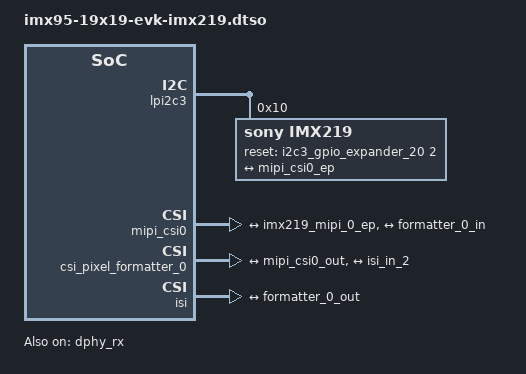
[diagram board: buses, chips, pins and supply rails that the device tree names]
// SPDX-License-Identifier: (GPL-2.0 OR MIT)
/*
 * Copyright 2024 NXP
 */

/dts-v1/;
/plugin/;

#include "imx95-clock.h"
#include <dt-bindings/gpio/gpio.h>
#include "imx95-pinfunc.h"

&scmi_iomuxc {
	pinctrl_csi_mclk: csi_mclk {
		fsl,pins = <
			IMX95_PAD_CCM_CLKO1__CCMSRCGPCMIX_TOP_CLKO_1	0x39e
		>;
	};
};

&lpi2c3 {
	#address-cells = <1>;
	#size-cells = <0>;
	status = "okay";

	imx219: imx219@10 {
		compatible = "sony,imx219";
		reg = <0x10>;
		pinctrl-names = "default";
		pinctrl-0 = <&pinctrl_csi_mclk>;

		clocks = <&scmi_clk IMX95_CLK_LPI2C3>;
		clock-names = "xclk";

		assigned-clocks = <&scmi_clk IMX95_CLK_LPI2C3>;
		assigned-clock-parents = <&scmi_clk IMX95_CLK_24M>;
		assigned-clock-rates = <24000000>;
		reset-gpios = <&i2c3_gpio_expander_20 2 GPIO_ACTIVE_HIGH>;
		orientation = <2>;
		rotation = <0>;
		status = "okay";

		port {
			imx219_mipi_0_ep: endpoint {
				remote-endpoint = <&mipi_csi0_ep>;
				data-lanes = <1 2>;
				clock-lanes = <0>;
				clock-noncontinous;
				link-frequencies = /bits/ 64 <456000000>;

			};
		};
	};
};

&dphy_rx {
	status = "okay";
};

&mipi_csi0 {
	status = "okay";

	ports {
		#address-cells = <1>;
		#size-cells = <0>;

		port@0 {
			reg = <0>;
			mipi_csi0_ep: endpoint {
				remote-endpoint = <&imx219_mipi_0_ep>;
				data-lanes = <1 2>;
				clock-lanes = <0>;
			};
		};

		port@1 {
			reg = <1>;
				mipi_csi0_out: endpoint {
				remote-endpoint = <&formatter_0_in>;
			};
		};
	};
};

&csi_pixel_formatter_0 {
	status = "okay";

	ports {
		#address-cells = <1>;
		#size-cells = <0>;

		port@0 {
			reg = <0>;

			formatter_0_in: endpoint {
				remote-endpoint = <&mipi_csi0_out>;
			};
		};

		port@1 {
			reg = <1>;

			formatter_0_out: endpoint {
				remote-endpoint = <&isi_in_2>;
			};
		};
	};
};


&isi {
	status = "okay";

	ports {
		#address-cells = <1>;
		#size-cells = <0>;

		port@2 {
			reg = <2>;

			isi_in_2: endpoint {
				remote-endpoint = <&formatter_0_out>;
			};
		};
	};
};

